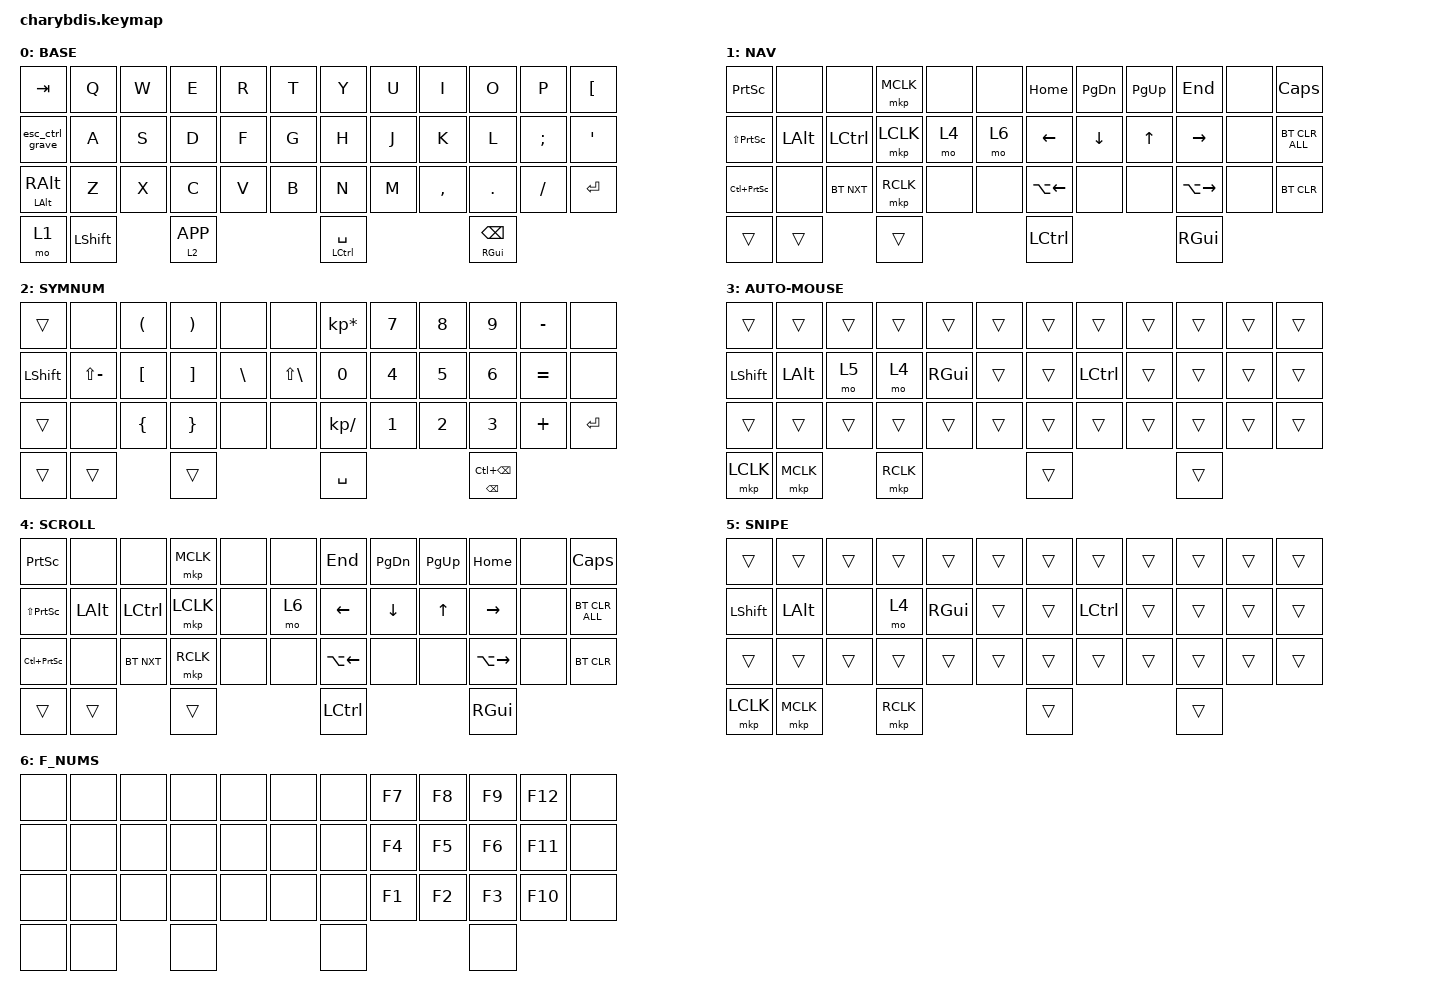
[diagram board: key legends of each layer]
#include <behaviors.dtsi>
#include <behaviors/mouse_keys.dtsi>
#include <dt-bindings/zmk/bt.h>
#include <dt-bindings/zmk/ext_power.h>
#include <dt-bindings/zmk/keys.h>
#include <dt-bindings/zmk/mouse.h>
#include <dt-bindings/zmk/outputs.h>

#define U_TAPPING_TERM 150

#define TAPHOLD_SYMBOL(NAME, TAP, HOLD) \
     NAME: NAME { \
        compatible = "zmk,behavior-hold-tap"; \
        label = ZMK_MACRO_STRINGIFY(NAME); \
        #binding-cells = <2>; \
        tapping-term-ms = <TAPPING_TERM>; \
        flavor = "tap-preferred"; \
        quick-tap-ms = <QUICK_TAP_TERM>; \
        require-prior-idle-ms = <QUICK_TAP_TERM>; \
        bindings = <HOLD>, <TAP>; \
    };


/ {
    chosen { zmk,matrix_transform = &default_transform; };
};

/ {
    trackball_listener {
        compatible = "zmk,input-behavior-listener";
        device = <&vtrackball>;
        layers = <0 2 3 4 5>;
        evt-type = <INPUT_EV_REL>;
        x-input-code = <INPUT_REL_X>;
        y-input-code = <INPUT_REL_Y>;
        scale-multiplier = <1>;
        scale-divisor = <4>;
        bindings = <&ib_toggle_layer 5>;
    };

    trackball_snipe_listener {
        compatible = "zmk,input-behavior-listener";   
        device = <&vtrackball>;
        layers = <>;
        evt-type = <INPUT_EV_REL>;
        x-input-code = <INPUT_REL_X>;
        y-input-code = <INPUT_REL_Y>;
        scale-multiplier = <1>;
        scale-divisor = <12>;
    };

    trackball_scroll_listener {
        compatible = "zmk,input-behavior-listener";
        device = <&vtrackball>;
        layers = <1>;
        evt-type = <INPUT_EV_REL>;            
        x-input-code = <INPUT_REL_MISC>;
        y-input-code = <INPUT_REL_WHEEL>;
        y-invert;
        bindings = <&ib_wheel_scaler 1 16>;
    };

    ib_wheel_scaler: ib_wheel_scaler {
        compatible = "zmk,input-behavior-scaler";
        #binding-cells = <2>;
        evt-type = <INPUT_EV_REL>;
        input-code = <INPUT_REL_WHEEL>;
    };

    ib_toggle_layer: ib_toggle_layer {
        compatible = "zmk,input-behavior-tog-layer";
        #binding-cells = <1>;
        time-to-live-ms = <750>;
    };

    behaviors {
        u_mt: u_mt {
            compatible = "zmk,behavior-hold-tap";
            label = "u_mt";
            #binding-cells = <2>;
            tapping_term_ms = <U_TAPPING_TERM>;
            flavor = "tap-preferred";
            bindings = <&kp>, <&kp>;
        };

        h_mt: h_mt {
            compatible = "zmk,behavior-hold-tap";
            label = "u_mt";
            #binding-cells = <2>;
            tapping_term_ms = <120>;
            flavor = "hold-preferred";
            bindings = <&kp>, <&kp>;
        };

        u_lt: u_lt {
            compatible = "zmk,behavior-hold-tap";
            label = "u_lt";
            #binding-cells = <2>;
            tapping_term_ms = <U_TAPPING_TERM>;
            flavor = "tap-preferred";
            bindings = <&mo>, <&kp>;
        };

        h_lt: h_lt {
            compatible = "zmk,behavior-hold-tap";
            label = "u_lt";
            #binding-cells = <2>;
            tapping_term_ms = <120>;
            flavor = "hold-preferred";
            bindings = <&mo>, <&kp>;
        };

        Shift_Enter: Shift_Enter {
            compatible = "zmk,behavior-hold-tap";
            label = "SHIFT_ENTER";
            bindings = <&kp>, <&kp>;

            #binding-cells = <2>;
            hold-trigger-key-positions = <40>;
            tapping-term-ms = <100>;
        };

        esc_ctrl_grave: esc_ctrl_grave {
            compatible = "zmk,behavior-mod-morph";
            #binding-cells = <0>;
            bindings = <&u_mt LCTRL ESC>, <&kp GRAVE>;
            mods = <(MOD_RGUI)>;
        };
    };

    keymap {
        compatible = "zmk,keymap";

        BASE {
            bindings = <
&kp TAB          &kp Q  &kp W  &kp E  &kp R  &kp T       &kp Y  &kp U  &kp I      &kp O    &kp P     &kp LBKT
&esc_ctrl_grave  &kp A  &kp S  &kp D  &kp F  &kp G       &kp H  &kp J  &kp K      &kp L    &kp SEMI  &kp APOS
&h_mt LALT RALT  &kp Z  &kp X  &kp C  &kp V  &kp B       &kp N  &kp M  &kp COMMA  &kp DOT  &kp FSLH  &kp RET

&mo 1            &kp LSHIFT    &h_lt 2 K_APP             &u_mt LCTRL SPACE    &u_mt RGUI BKSP
            >;
        };

        NAV {
            bindings = <
&kp PSCRN           &none      &none         &mkp MCLK  &none      &none       &kp HOME       &kp PG_DN     &kp PG_UP     &kp END         &none           &kp CAPS
&kp LS(PSCRN)       &kp LALT   &kp LCTRL     &mkp LCLK  &mo 4      &mo 6       &kp LEFT       &kp DOWN      &kp    UP     &kp RIGHT       &none           &bt BT_CLR_ALL
&kp LC(PSCRN)       &none      &bt BT_NXT    &mkp RCLK  &none      &none       &kp LA(LEFT)   &none         &none         &kp LA(RIGHT)   &none           &bt BT_CLR

&trans    &trans    &trans                                                   &kp LCTRL    &kp RGUI
            >;
        };

        SYMNUM {
            bindings = <
&trans      &none          &kp LPAR  &kp RPAR  &none     &none              &kp KP_MULTIPLY  &kp N7  &kp N8  &kp N9  &kp MINUS  &none
&kp LSHIFT  &kp LS(MINUS)  &kp LBKT  &kp RBKT  &kp BSLH  &kp LS(BSLH)       &kp N0           &kp N4  &kp N5  &kp N6  &kp EQUAL  &none
&trans      &none          &kp LBRC  &kp RBRC  &none     &none              &kp KP_DIVIDE    &kp N1  &kp N2  &kp N3  &kp PLUS   &kp RET

&trans    &trans    &trans                                                  &kp SPACE    &u_mt BKSP LC(BKSP) // BKSP macro
            >;
        };

        AUTO-MOUSE {
            bindings = <
&trans     &trans    &trans      &trans    &trans    &trans       &trans  &trans     &trans  &trans  &trans  &trans
&kp LSHIFT &kp LALT  &mo    5    &mo     4 &kp RGUI  &trans       &trans  &kp LCTRL  &trans  &trans  &trans  &trans
&trans     &trans    &trans      &trans    &trans    &trans       &trans  &trans     &trans  &trans  &trans  &trans

&mkp LCLK  &mkp MCLK  &mkp RCLK                      &trans  &trans
            >;
        };

        SCROLL {
            bindings = <
&kp PSCRN           &none      &none         &mkp MCLK  &none      &none       &kp END        &kp PG_DN     &kp PG_UP     &kp HOME        &none           &kp CAPS
&kp LS(PSCRN)       &kp LALT   &kp LCTRL     &mkp LCLK  &none      &mo 6       &kp LEFT       &kp DOWN      &kp    UP     &kp RIGHT       &none           &bt BT_CLR_ALL
&kp LC(PSCRN)       &none      &bt BT_NXT    &mkp RCLK  &none      &none       &kp LA(LEFT)   &none         &none         &kp LA(RIGHT)   &none           &bt BT_CLR

&trans    &trans    &trans                                                   &kp LCTRL    &kp RGUI
            >;
        };

        SNIPE {
            bindings = <
&trans     &trans    &trans      &trans    &trans    &trans       &trans  &trans     &trans  &trans  &trans  &trans
&kp LSHIFT &kp LALT  &none       &mo     4 &kp RGUI  &trans       &trans  &kp LCTRL  &trans  &trans  &trans  &trans
&trans     &trans    &trans      &trans    &trans    &trans       &trans  &trans     &trans  &trans  &trans  &trans

&mkp LCLK  &mkp MCLK  &mkp RCLK                      &trans  &trans
            >;
        };

        F_NUMS {
            bindings = <
&none      &none  &none  &none     &none     &none              &none            &kp F7  &kp F8  &kp F9  &kp F12  &none
&none      &none  &none  &none     &none     &none              &none            &kp F4  &kp F5  &kp F6  &kp F11  &none
&none      &none  &none  &none     &none     &none              &none            &kp F1  &kp F2  &kp F3  &kp F10  &none

&none    &none    &none                                                  &none    &none
            >;

        };
    };
};
